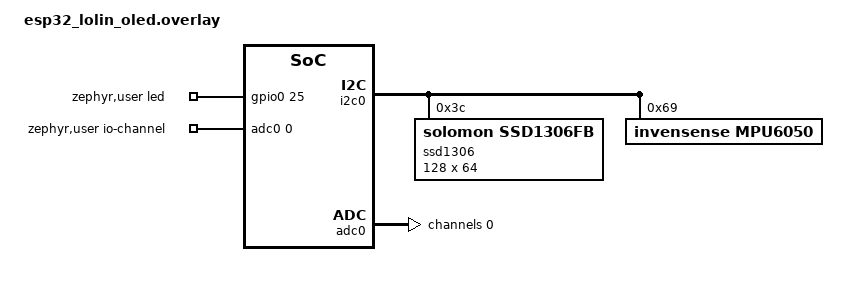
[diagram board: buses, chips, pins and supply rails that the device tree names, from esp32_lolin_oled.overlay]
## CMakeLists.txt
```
# SPDX-License-Identifier: Apache-2.0

cmake_minimum_required(VERSION 3.22)

set(BOARD_ROOT ${CMAKE_SOURCE_DIR})
set(BOARD "esp32_lolin_oled")
set(DTC_OVERLAY_FILE "esp32_lolin_oled.overlay")

find_package(Zephyr)
project(ze-clock)

nanopb_generate_cpp(proto_sources proto_headers RELPATH . src/simple.proto)
zephyr_library_include_directories(${CMAKE_CURRENT_BINARY_DIR})

FILE(GLOB app_sources src/*.c)
target_sources(app PRIVATE ${proto_sources} ${app_sources})
```

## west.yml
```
manifest:
  version: 0.8

  projects:
    - name: zephyr
      url: https://github.com/zephyrproject-rtos/zephyr
      revision: zephyr-v3.4.0
      import:
        file: west.yml
        path-prefix: deps
        name-allowlist:
          - nanopb
          - hal_espressif
  
  self:
    path: app
```

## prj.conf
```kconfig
CONFIG_I2C=y

CONFIG_DISPLAY=y
CONFIG_CHARACTER_FRAMEBUFFER=y
CONFIG_SSD1306=y
CONFIG_SSD1306_DEFAULT=y
CONFIG_SSD1306_DEFAULT_CONTRAST=128

CONFIG_ADC=y

CONFIG_SENSOR=y
CONFIG_MPU6050_TRIGGER_NONE=y
CONFIG_MPU6050_ACCEL_FS=4
CONFIG_MPU6050_GYRO_FS=500

CONFIG_PRINTK=y

CONFIG_NANOPB=y

CONFIG_LOG=y
```

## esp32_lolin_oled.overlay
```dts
/ {
    zephyr,user {
        // ch0-adcs = <&adc1>;
        led-gpios = <&gpio0 25 GPIO_ACTIVE_HIGH>;
        io-channels = <&adc0 0>;
    };

    // aliases{
        //     blinker = &led
    // };
};



&i2c0 {
    ssd1306: ssd1306@3c {
        compatible = "solomon,ssd1306fb";
        reg = <0x3C>;
        height = <64>;
        width = <128>;
        segment-offset = <0>;
        page-offset = <0>;
        display-offset = <0>;
        multiplex-ratio = <63>;
        prechargep = <0x22>;
        com-invdir;
        segment-remap;
    };

    mpu6050: mpu6050@69 {
        compatible = "invensense,mpu6050";
        reg = <0x69>;
        status = "okay";
    };
};

&adc0 {
    status = "okay";
    #address-cells = <1>;
    #size-cells = <0>;

    channel@0 {
        reg = <0>;
        zephyr,gain = "ADC_GAIN_1_4";
        zephyr,reference = "ADC_REF_INTERNAL";
        zephyr,acquisition-time = <ADC_ACQ_TIME_DEFAULT>;
        zephyr,resolution = <12>;
    };
};
```

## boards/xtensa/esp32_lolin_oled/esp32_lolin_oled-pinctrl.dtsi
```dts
/*
 * Copyright (c) 2022 Espressif Systems (Shanghai) Co., Ltd.
 *
 * SPDX-License-Identifier: Apache-2.0
 */

#include <zephyr/dt-bindings/pinctrl/esp-pinctrl-common.h>
#include <dt-bindings/pinctrl/esp32-pinctrl.h>
#include <zephyr/dt-bindings/pinctrl/esp32-gpio-sigmap.h>

&pinctrl {

	uart0_default: uart0_default {
		group1 {
			pinmux = <UART0_TX_GPIO1>;
			output-high;
		};
		group2 {
			pinmux = <UART0_RX_GPIO3>;
			bias-pull-up;
		};
	};

	spim2_default: spim2_default {
		group1 {
			pinmux = <SPIM2_MISO_GPIO7>,
				 <SPIM2_SCLK_GPIO6>,
				 <SPIM2_CSEL_GPIO11>;
		};
		group2 {
			pinmux = <SPIM2_MOSI_GPIO8>;
			output-low;
		};
	};

	i2c0_default: i2c0_default {
		group1 {
			pinmux = <I2C0_SDA_GPIO5>,
				 <I2C0_SCL_GPIO4>;
			bias-pull-up;
			drive-open-drain;
			output-high;
		};
	};
};
```

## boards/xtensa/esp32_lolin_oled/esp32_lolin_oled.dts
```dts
/*
 * Copyright (c) 2023 Espressif Systems (Shanghai) Co., Ltd.
 *
 * SPDX-License-Identifier: Apache-2.0
 */
/dts-v1/;
#include <espressif/esp32.dtsi>
#include "esp32_lolin_oled-pinctrl.dtsi"
#include <zephyr/dt-bindings/input/input-event-codes.h>

/ {
	model = "Wemos Lolin32 ESP32 OLED";
	compatible = "espressif,esp32";

	aliases {
		uart-0 = &uart0;
		i2c-0 = &i2c0;
		sw0 = &button0;
		watchdog0 = &wdt0;
	};

	buttons {
		compatible = "gpio-keys";
		button0: button_0 {
			gpios = <&gpio0 0 (GPIO_PULL_UP | GPIO_ACTIVE_LOW)>;
			label = "BOOT Button";
			zephyr,code = <INPUT_KEY_0>;
		};
	};

	chosen {
		zephyr,sram = &sram0;
		zephyr,console = &uart0;
		zephyr,shell-uart = &uart0;
		zephyr,flash = &flash0;
	};

	power-states {
		light_sleep: light_sleep {
			compatible = "zephyr,power-state";
			power-state-name = "standby";
			min-residency-us = <200>;
			exit-latency-us = <60>;
		};

	deep_sleep: deep_sleep {
			compatible = "zephyr,power-state";
			power-state-name = "soft-off";
			min-residency-us = <2000>;
			exit-latency-us = <212>;
		};
	};

};

&cpu0 {
	clock-frequency = <ESP32_CLK_CPU_240M>;
	cpu-power-states = <&light_sleep &deep_sleep>;
};

&cpu1 {
	clock-frequency = <ESP32_CLK_CPU_240M>;
};

&uart0 {
	status = "okay";
	current-speed = <115200>;
	pinctrl-0 = <&uart0_default>;
	pinctrl-names = "default";
};

&gpio0 {
	status = "okay";
};

&gpio1 {
	status = "okay";
};

&i2c0 {
	status = "okay";
	clock-frequency = <I2C_BITRATE_STANDARD>;
	sda-gpios = <&gpio0 5 GPIO_OPEN_DRAIN>;
	scl-gpios = <&gpio0 4 GPIO_OPEN_DRAIN>;
	pinctrl-0 = <&i2c0_default>;
	pinctrl-names = "default";
};

&spi2 {
	#address-cells = <1>;
	#size-cells = <0>;
	status = "okay";
	pinctrl-0 = <&spim2_default>;
	pinctrl-names = "default";
};

&timer0 {
	status = "disabled";
};

&timer1 {
	status = "disabled";
};

&timer2 {
	status = "disabled";
};

&timer3 {
	status = "disabled";
};

&trng0 {
	status = "okay";
};

&flash0 {
	status = "okay";
	partitions {
		compatible = "fixed-partitions";
		#address-cells = <1>;
		#size-cells = <1>;

		/* Reserve 60kB for the bootloader */
		boot_partition: partition@1000 {
			label = "mcuboot";
			reg = <0x00001000 0x0000F000>;
			read-only;
		};

		/* Reserve 1024kB for the application in slot 0 */
		slot0_partition: partition@10000 {
			label = "image-0";
			reg = <0x00010000 0x00100000>;
		};

		/* Reserve 1024kB for the application in slot 1 */
		slot1_partition: partition@110000 {
			label = "image-1";
			reg = <0x00110000 0x00100000>;
		};

		/* Reserve 256kB for the scratch partition */
		scratch_partition: partition@210000 {
			label = "image-scratch";
			reg = <0x00210000 0x00040000>;
		};

		storage_partition: partition@250000 {
			label = "storage";
			reg = <0x00250000 0x00006000>;
		};
	};
};
```

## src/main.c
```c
/*
 * Copyright (c) 2017 Linaro Limited
 *
 * SPDX-License-Identifier: Apache-2.0
 */

#include "logo_image.h"
#include "src/simple.pb.h"

#include <pb_decode.h>
#include <pb_encode.h>
#include <stdio.h>
#include <zephyr/device.h>
#include <zephyr/devicetree.h>
#include <zephyr/display/cfb.h>
#include <zephyr/drivers/adc.h>
#include <zephyr/drivers/display.h>
#include <zephyr/drivers/gpio.h>
#include <zephyr/drivers/sensor.h>
#include <zephyr/kernel.h>
#include <zephyr/kernel/thread.h>
#include <zephyr/logging/log.h>

#define THREAD_INIT_STACKSIZE	 2048
#define THREAD_IMU_STACKSIZE	 8192
#define THREAD_DISPLAY_STACKSIZE 16384
#define THREAD_LED_STACKSIZE	 2048
#define THREAD_ADC_STACKSIZE	 2048

#define THREAD_IMU_PRIORITY		8
#define THREAD_DISPLAY_PRIORITY 8
#define THREAD_ADC_PRIORITY		8
#define THREAD_LED_PRIORITY		8
#define THREAD_INIT_PRIORITY	0

#define IMU_FREQUENCY_HZ		  1
#define UPDATE_DISPLAY_HZ		  30
#define ADC_SAMPLING_FREQUENCY_HZ 100
#define LED_TOGGLE_FREQUENCY	  4

#if !DT_NODE_EXISTS( DT_PATH( zephyr_user ) ) || !DT_NODE_HAS_PROP( DT_PATH( zephyr_user ), io_channels )
	#error "No suitable devicetree overlay specified"
#endif

LOG_MODULE_REGISTER( app, LOG_LEVEL_DBG );
// ADC Definitions

// Device definitions
static const struct device		*oled = DEVICE_DT_GET( DT_NODELABEL( ssd1306 ) );
static const struct device		*mpu  = DEVICE_DT_GET( DT_NODELABEL( mpu6050 ) );
static const struct gpio_dt_spec led  = GPIO_DT_SPEC_GET( DT_PATH( zephyr_user ), led_gpios );
static const struct adc_dt_spec	 adc  = ADC_DT_SPEC_GET_BY_IDX( DT_N_S_zephyr_user_P_io_channels_IDX_0_VAL_input,
	  DT_N_S_soc_S_adc_3ff48800_S_channel_0_CHILD_IDX );

int32_t				adc_reading		   = 12;
uint16_t			adc_reading_buffer = 13;
struct adc_sequence sequence		   = {
			  .buffer	   = &adc_reading_buffer,
			  .buffer_size = sizeof( adc_reading_buffer ),
};

// IMU related variables
struct sensor_value temperature;
struct sensor_value accel[3];
struct sensor_value gyro[3];

// Display related variables
#define DISPLAY_BUFFER_PITCH 128
struct display_buffer_descriptor buf_desc;
uint16_t						 rows;
uint8_t							 ppt;
uint8_t							 font_width;
uint8_t							 font_height;

void init_screen_display() {
	if( display_set_contrast( oled, 0 ) != 0 ) {
		LOG_ERR( "could not set display brightness" );
	}
	if( display_write( oled, 0, 0, &buf_desc, start_up_screen ) != 0 ) {
		LOG_ERR( "could not write to display" );
	}
	for( size_t brightness = 0; brightness < 200; brightness++ ) {
		if( display_set_contrast( oled, brightness ) != 0 ) {
			LOG_ERR( "could not set display brightness" );
		}
		k_busy_wait( 7500 );
	}
	for( size_t brightness = 200; brightness > 0; brightness-- ) {
		if( display_set_contrast( oled, brightness ) != 0 ) {
			LOG_ERR( "could not set display brightness" );
		}
		k_busy_wait( 7500 );
	}

	if( display_write( oled, 0, 0, &buf_desc, black_screen ) != 0 ) {
		LOG_ERR( "could not write to display" );
	}
	if( display_set_contrast( oled, 200 ) != 0 ) {
		LOG_ERR( "could not set display brightness" );
	}
}

uint32_t get_wait_time_ms( float32_t frequency ) { return ( uint32_t ) ( 1000 / frequency ); }

void thread_init( void ) {
	int err;
	LOG_INF( "Initialisation thread running" );

	extern const k_tid_t thread_init_id;

	if( !device_is_ready( mpu ) ) {
		LOG_ERR( "IMU (MPU6050) not ready for use yet." );
	} else {
		LOG_INF( "IMU running." );
	}

	if( !device_is_ready( oled ) ) {
		LOG_ERR( "Display (SSD1306) not ready for use yet." );
	} else {
		LOG_INF( "Display (SSD1306) running." );
	}

	if( !device_is_ready( adc.dev ) ) {
		LOG_ERR( "ADC not ready for use" );
	} else {
		LOG_INF( "ADC is ready." );
	}

	if( !device_is_ready( led.port ) ) {
		LOG_ERR( "GPIO not ready for use yet." );
	} else {
		if( gpio_pin_configure_dt( &led, GPIO_OUTPUT_ACTIVE ) < 0 ) {
			LOG_ERR( "Error configuring GPIO" );
		}
		LOG_INF( "LED ready!." );
	}

	LOG_INF( "Initialising display..." );
	struct display_capabilities capabilities;
	display_get_capabilities( oled, &capabilities );

	const uint16_t x_res = capabilities.x_resolution;
	const uint16_t y_res = capabilities.y_resolution;

	buf_desc.width	  = x_res;
	buf_desc.height	  = y_res;
	buf_desc.buf_size = y_res * x_res;
	buf_desc.pitch	  = DISPLAY_BUFFER_PITCH;

	init_screen_display( oled );

	err = cfb_framebuffer_init( oled );
	if( err != 0 ) {
		LOG_ERR( "Framebuffer initialization failed! Error: %d", err );
		return;
	}
	LOG_INF( "Init went well" );

	err = display_set_pixel_format( oled, PIXEL_FORMAT_MONO10 );
	if( err != 0 ) {
		LOG_ERR( "Failed to set required pixel format" );
		return;
	}

	cfb_framebuffer_clear( oled, true );

	display_blanking_off( oled );

	int num_fonts = cfb_get_numof_fonts( oled );

	for( int idx = 0; idx < num_fonts; idx++ ) {
		cfb_get_font_size( oled, idx, &font_width, &font_height );

		LOG_INF( "Index[%d] font dimensions %2dx%d", idx, font_width, font_height );
	}
	cfb_framebuffer_set_font( oled, 0 );
	cfb_framebuffer_invert( oled ); // white on black

	cfb_print( oled, "Hello my man!", 0, 0 );
	cfb_framebuffer_finalize( oled );

	LOG_INF( "Display has been set up." );

	LOG_INF( "Initialising ADC..." );
	LOG_INF( "ADC node found?: %d", adc.channel_cfg_dt_node_exists );
	LOG_INF( "ADC devicetree details:" );
	LOG_INF( "ADC Resolution: %dbits", adc.resolution );
	LOG_INF( "ADC Channel: %d", adc.channel_id );
	LOG_INF( "ADC reference voltage: %d", adc.vref_mv );

	LOG_INF( "ADC %d", adc.resolution );

	adc_channel_setup_dt( &adc );

	err = adc_sequence_init_dt( &adc, &sequence );
	if( err != 0 ) {
		LOG_ERR( "Failed to init sequence: %d", err );
	}

	LOG_INF( "ADC sampling values" );
	LOG_INF( "ADC resolution: %d", sequence.resolution );
	LOG_INF( "ADC channels: %d", sequence.channels );
	LOG_INF( "ADC oversampling: %d", sequence.oversampling );

	err = adc_read( adc.dev, &sequence );
	if( err != 0 ) {
		LOG_ERR( "Failed to read ADC value: %d", err );
	}

	LOG_INF( "ADC has been set up." );

	LOG_INF( "Initialising IMU..." );

	// Not a robust initialisation but it checks that everything works well.
	// err = sensor_sample_fetch( mpu );
	if( err < 0 ) {
		LOG_ERR( "Failed to fetch sensor value: %d", err );
	} else {
		LOG_INF( "IMU has been set up." );
	}

	k_thread_abort( thread_init_id );
}

void thread_led( void ) {
	for( ;; ) {
		LOG_INF( "Toggling LED" );
		gpio_pin_toggle_dt( &led );
		k_msleep( get_wait_time_ms( LED_TOGGLE_FREQUENCY ) );
	}
}

void thread_imu( void ) {
	int err = 0;
	for( ;; ) {
		LOG_INF( "Getting sensor data from MPU6050" );
		err = sensor_sample_fetch( mpu );
		if( err < 0 ) {
			LOG_ERR( "Failed to fetch sensor values: %d", err );
		} else {
			err = sensor_channel_get( mpu, SENSOR_CHAN_AMBIENT_TEMP, &temperature );
			if( err < 0 ) {
				LOG_ERR( "Failed to get temperature data: %d", err );
			}
			err = sensor_channel_get( mpu, SENSOR_CHAN_ACCEL_XYZ, accel );
			if( err < 0 ) {
				LOG_ERR( "Failed to get acceleration data: %d", err );
			}
			err = sensor_channel_get( mpu, SENSOR_CHAN_GYRO_XYZ, gyro );
			if( err < 0 ) {
				LOG_ERR( "Failed to get temperature data: %d", err );
			}

			LOG_INF( "Temperature: %d.%d", temperature.val1, temperature.val2 );
			LOG_INF( "Acceleration: X - %d.%d\tY - %d.%d\tZ - %d.%d", accel[0].val1, accel[0].val2, accel[1].val1,
				accel[1].val2, accel[2].val1, accel[2].val2 );
			LOG_INF( "Angular Rate: X - %d.%d\tY - %d.%d\tZ - %d.%d", gyro[0].val1, gyro[0].val2, gyro[1].val1,
				gyro[1].val2, gyro[2].val1, gyro[2].val2 );
		}
		LOG_INF( "Done fetching IMU data" );
		k_msleep( get_wait_time_ms( IMU_FREQUENCY_HZ ) );
	}
}

void thread_display( void ) {
	int cnt = 0;

	char temp_str[12];
	char acc_str[12];
	char gyro_str[12];
	char pot_str[12];

	for( ;; ) {
		cfb_framebuffer_clear( oled, false );

		sprintf( temp_str, "Temp: %d.%d", temperature.val1, ( uint8_t ) ( temperature.val2 / 10000 ) );
		cfb_print( oled, temp_str, 0, 0 );

		sprintf( acc_str, "A: %2d %2d %2d", accel[0].val1, accel[1].val1, accel[2].val1 );
		cfb_print( oled, acc_str, 0, 16 );

		sprintf( gyro_str, "G: %2d %2d %2d", gyro[0].val1, gyro[1].val1, gyro[2].val1 );
		cfb_print( oled, gyro_str, 0, 32 );

		sprintf( pot_str, "ADC: %d.%dv", ( uint8_t ) ( adc_reading / 1000.0 ), ( uint8_t ) ( adc_reading % 1000 ) );
		cfb_print( oled, pot_str, 0, 48 );

		cfb_framebuffer_finalize( oled );
		k_msleep( get_wait_time_ms( UPDATE_DISPLAY_HZ ) );
	}
}

void thread_adc( void ) {
	int err;
	for( ;; ) {
		err = adc_read( adc.dev, &sequence );
		if( err != 0 ) {
			LOG_ERR( "Failed to read ADC value: %d", err );
		}
		adc_reading = ( int32_t ) adc_reading_buffer;
		err			= adc_raw_to_millivolts_dt( &adc, &adc_reading );
		if( err != 0 ) {
			LOG_ERR( "Failed to read ADC value: %d", err );
		}
		LOG_INF( "Buffer reading: %d", adc_reading_buffer );
		LOG_INF( "ADC reading: %d", adc_reading );
		k_msleep( get_wait_time_ms( ADC_SAMPLING_FREQUENCY_HZ ) );
	}
}

// Define and initialize threads
K_THREAD_DEFINE( thread_init_id, THREAD_INIT_STACKSIZE, thread_init, NULL, NULL, NULL, THREAD_INIT_PRIORITY, 0, 0 );
K_THREAD_DEFINE( thread_imu_id, THREAD_IMU_STACKSIZE, thread_imu, NULL, NULL, NULL, THREAD_IMU_PRIORITY, 0, 5000 );
K_THREAD_DEFINE( thread_led_id, THREAD_LED_STACKSIZE, thread_led, NULL, NULL, NULL, THREAD_LED_PRIORITY, 0, 5000 );
K_THREAD_DEFINE( thread_adc_id, THREAD_ADC_STACKSIZE, thread_adc, NULL, NULL, NULL, THREAD_ADC_PRIORITY, 0, 5000 );
K_THREAD_DEFINE( thread_display_id, THREAD_DISPLAY_STACKSIZE, thread_display, NULL, NULL, NULL, THREAD_DISPLAY_PRIORITY,
	0, 5000 );
```

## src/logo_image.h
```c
#include <stdint.h>
uint8_t start_up_screen[1024] = { 0x00, 0x00, 0x00, 0x00, 0x00, 0x00, 0x00, 0x00, 0x00, 0x00, 0x00, 0x00, 0x00, 0x00,
	0x00, 0x00, 0x00, 0x00, 0x00, 0x00, 0x00, 0x00, 0x00, 0x00, 0x00, 0x00, 0x00, 0x00, 0x00, 0x00, 0x00, 0x00, 0x00,
	0x00, 0x00, 0x00, 0x00, 0x00, 0x00, 0x00, 0x00, 0x00, 0x00, 0x00, 0x00, 0x00, 0x00, 0x00, 0x00, 0x00, 0x00, 0x00,
	0x00, 0x00, 0x00, 0x00, 0x00, 0x00, 0x00, 0x00, 0x00, 0x00, 0x00, 0x00, 0x00, 0x00, 0x00, 0x00, 0x00, 0x00, 0x00,
	0x00, 0x00, 0x00, 0x00, 0x00, 0x00, 0x00, 0x00, 0x00, 0x00, 0x00, 0x00, 0x00, 0x00, 0x00, 0x00, 0x00, 0x00, 0x00,
	0x00, 0x00, 0x00, 0x00, 0x00, 0x00, 0x00, 0x00, 0x00, 0x00, 0x00, 0x00, 0x00, 0x00, 0x00, 0x00, 0x00, 0x00, 0x00,
	0x00, 0x00, 0x00, 0x00, 0x00, 0x00, 0x00, 0x00, 0x00, 0x00, 0x00, 0x00, 0x00, 0x00, 0x00, 0x00, 0x00, 0x00, 0x00,
	0x00, 0x00, 0x00, 0x00, 0x00, 0x00, 0x00, 0x00, 0x00, 0x00, 0x00, 0x00, 0x00, 0x00, 0x00, 0x00, 0x00, 0x00, 0x00,
	0x00, 0x00, 0x00, 0x00, 0x00, 0x00, 0x00, 0x00, 0x00, 0x00, 0x00, 0x00, 0x00, 0x00, 0x00, 0x00, 0x00, 0x00, 0x00,
	0x00, 0x00, 0x00, 0x00, 0x00, 0x00, 0x00, 0x00, 0x00, 0x00, 0x00, 0x00, 0x00, 0x00, 0x00, 0x00, 0x00, 0x00, 0x00,
	0x00, 0x00, 0x00, 0x00, 0x00, 0x00, 0x00, 0x00, 0x00, 0x00, 0x00, 0x00, 0x00, 0x00, 0x00, 0x00, 0x00, 0x00, 0x00,
	0x00, 0x00, 0x00, 0x00, 0x00, 0x00, 0x00, 0x00, 0x00, 0x00, 0x80, 0x80, 0x80, 0x00, 0x00, 0x00, 0x00, 0x00, 0x00,
	0x00, 0x00, 0x00, 0x00, 0x00, 0x00, 0x00, 0x00, 0x00, 0x00, 0x00, 0x00, 0x00, 0x00, 0x00, 0x00, 0x00, 0x00, 0x00,
	0x00, 0x00, 0x00, 0x00, 0x00, 0x00, 0x00, 0x00, 0x00, 0x00, 0x00, 0x00, 0x00, 0x00, 0x00, 0x00, 0x00, 0x00, 0x00,
	0x00, 0x00, 0x00, 0x00, 0x00, 0x00, 0x00, 0x80, 0x80, 0x80, 0x80, 0x80, 0x80, 0x80, 0x00, 0x00, 0x00, 0x00, 0x00,
	0x00, 0x00, 0x00, 0xfe, 0xfe, 0xfe, 0xfe, 0xfe, 0x00, 0x00, 0x00, 0x00, 0x00, 0x00, 0x00, 0x00, 0x80, 0x80, 0x80,
	0x80, 0x80, 0x80, 0x00, 0x00, 0x00, 0x00, 0x00, 0x00, 0x00, 0x80, 0x80, 0x80, 0x80, 0x80, 0x00, 0x00, 0x00, 0x80,
	0x80, 0x80, 0x80, 0x80, 0x80, 0x00, 0x00, 0x00, 0x00, 0x80, 0x80, 0xf8, 0xf8, 0xf8, 0xf8, 0xf8, 0xf8, 0x80, 0x80,
	0x80, 0x80, 0x00, 0x04, 0x9f, 0xbf, 0xbf, 0xbf, 0x9f, 0x1e, 0x00, 0x00, 0x80, 0xf0, 0xfc, 0xfe, 0xfe, 0xfe, 0xff,
	0x9f, 0x9f, 0x9e, 0x1e, 0x00, 0x80, 0x80, 0x80, 0x80, 0x80, 0x00, 0x00, 0x00, 0x00, 0x00, 0x00, 0x00, 0x80, 0x80,
	0x80, 0x80, 0x80, 0x00, 0x00, 0x00, 0x00, 0x00, 0x00, 0x00, 0x00, 0x00, 0x00, 0x00, 0x00, 0xc0, 0xf8, 0xfc, 0xfe,
	0xff, 0xff, 0x1f, 0x0f, 0x0f, 0x0f, 0x0f, 0x0f, 0x1f, 0x3f, 0xff, 0xff, 0xfe, 0xfc, 0xf0, 0x80, 0x00, 0xff, 0xff,
	0xff, 0xff, 0xff, 0x00, 0x00, 0xf0, 0xf8, 0xfe, 0xfe, 0xff, 0x9f, 0x8f, 0x8f, 0x87, 0x87, 0x8f, 0x9f, 0xff, 0xff,
	0xfe, 0xfc, 0xf0, 0x00, 0x00, 0xff, 0x3f, 0xcf, 0xf7, 0xf9, 0xfe, 0xff, 0x7f, 0x1f, 0x1f, 0x0f, 0x1f, 0xff, 0xff,
	0xff, 0xfe, 0xf8, 0x00, 0x0f, 0x0f, 0xff, 0xff, 0xff, 0xff, 0xff, 0xff, 0x0f, 0x0f, 0x0f, 0x0f, 0x00, 0x00, 0xff,
	0xff, 0xff, 0xff, 0xff, 0xff, 0x00, 0x0f, 0x0f, 0xff, 0xff, 0xff, 0xff, 0xff, 0xff, 0x0f, 0x0f, 0x0f, 0x0f, 0x00,
	0xff, 0xff, 0xff, 0xff, 0xff, 0x00, 0x00, 0x00, 0x00, 0x00, 0x00, 0x00, 0xff, 0xff, 0xff, 0xff, 0xff, 0x00, 0x00,
	0x00, 0x00, 0x00, 0x00, 0x00, 0x00, 0x00, 0x00, 0x00, 0x00, 0xff, 0xff, 0xff, 0xff, 0xff, 0xff, 0xf0, 0xe0, 0xe0,
	0xe0, 0xe0, 0xe0, 0xe0, 0xf8, 0xff, 0xff, 0xff, 0x7f, 0x3f, 0x07, 0x00, 0xff, 0xff, 0xff, 0xff, 0xff, 0x00, 0x00,
	0x1f, 0x3f, 0x7f, 0xff, 0xff, 0xf3, 0xe3, 0xe3, 0xc3, 0xc3, 0xc3, 0xc3, 0xc3, 0xe3, 0xe3, 0xe3, 0xf3, 0xf0, 0xf8,
	0xfe, 0x7f, 0xbf, 0xdf, 0xef, 0xe3, 0x01, 0x00, 0x00, 0x00, 0x00, 0x00, 0xff, 0xff, 0xff, 0xff, 0xff, 0x00, 0x00,
	0x00, 0x7f, 0xff, 0xff, 0xff, 0xff, 0xff, 0xe0, 0xe0, 0xe0, 0xe0, 0x00, 0x00, 0xff, 0xff, 0xff, 0xff, 0xff, 0xff,
	0x00, 0x00, 0x00, 0xff, 0xff, 0xff, 0xff, 0xff, 0xff, 0x00, 0x00, 0x00, 0x00, 0x00, 0x3f, 0xff, 0xff, 0xff, 0xff,
	0xfc, 0xe0, 0xe0, 0xe0, 0xe0, 0xe0, 0xf8, 0xff, 0xff, 0xff, 0xff, 0xff, 0x00, 0x00, 0x00, 0x00, 0x00, 0x00, 0x00,
	0x00, 0x00, 0x00, 0x00, 0x00, 0xff, 0xff, 0xff, 0xff, 0xff, 0xff, 0x01, 0x03, 0x03, 0x03, 0x03, 0x03, 0x03, 0x03,
	0x01, 0x01, 0x00, 0x00, 0x00, 0x00, 0x00, 0x03, 0x03, 0x03, 0x03, 0x03, 0x00, 0x00, 0x00, 0x00, 0x00, 0x00, 0x01,
	0x01, 0x03, 0x03, 0x03, 0x03, 0x03, 0x03, 0x03, 0x03, 0x03, 0x03, 0x01, 0x01, 0x00, 0x02, 0x03, 0x03, 0x03, 0x03,
	0x01, 0x00, 0x00, 0x00, 0x00, 0x00, 0x00, 0x03, 0x03, 0x03, 0x03, 0x03, 0x00, 0x00, 0x00, 0x00, 0x01, 0x01, 0x03,
	0x03, 0x03, 0x03, 0x03, 0x03, 0x01, 0x00, 0x00, 0x03, 0x03, 0x03, 0x03, 0x03, 0x01, 0x00, 0x00, 0x00, 0x03, 0x03,
	0x03, 0x03, 0x03, 0x01, 0x00, 0x00, 0x00, 0x00, 0x00, 0x00, 0x40, 0xf9, 0xfb, 0xfb, 0xf3, 0xf3, 0xf3, 0xf3, 0xf9,
	0xf9, 0xfe, 0x7f, 0x7f, 0x3f, 0x1f, 0x07, 0x00, 0x00, 0x00, 0x00, 0x00, 0x00, 0x00, 0x00, 0x00, 0x00, 0x00, 0x00,
	0x00, 0x00, 0x00, 0x00, 0x00, 0x00, 0x00, 0x00, 0x00, 0x00, 0x00, 0x00, 0x00, 0x00, 0x00, 0x00, 0x00, 0x00, 0x00,
	0x00, 0x00, 0x00, 0x00, 0x00, 0x00, 0x00, 0x00, 0x00, 0x00, 0x00, 0x00, 0x00, 0x00, 0x00, 0x00, 0x00, 0x00, 0x00,
	0x00, 0x00, 0x00, 0x00, 0x00, 0x00, 0x00, 0x00, 0x00, 0x00, 0x00, 0x00, 0x00, 0x00, 0x00, 0x00, 0x00, 0x00, 0x00,
	0x00, 0x00, 0x00, 0x00, 0x00, 0x00, 0x00, 0x00, 0x00, 0x00, 0x00, 0x00, 0x00, 0x00, 0x00, 0x00, 0x00, 0x00, 0x00,
	0x00, 0x00, 0x00, 0x00, 0x00, 0x00, 0x00, 0x00, 0x00, 0x00, 0x00, 0x00, 0x00, 0x00, 0x00, 0x00, 0x00, 0x00, 0x00,
	0x00, 0x00, 0x00, 0x00, 0x00, 0x00, 0x00, 0x00, 0x00, 0x00, 0x00, 0x00, 0x00, 0x00, 0x00, 0x00, 0x00, 0x00, 0x00,
	0x00, 0x00, 0x00, 0x00, 0x00, 0x00, 0x00, 0x00, 0x00, 0x00, 0x00, 0x00, 0x00, 0x00, 0x00, 0x00, 0x00, 0x00, 0x00,
	0x00, 0x00, 0x00, 0x00, 0x00, 0x00, 0x00, 0x00, 0x00, 0x00, 0x00, 0x00, 0x00, 0x00, 0x00, 0x00, 0x00, 0x00, 0x00,
	0x00, 0x00, 0x00, 0x00, 0x00, 0x00, 0x00, 0x00, 0x00, 0x00, 0x00, 0x00, 0x00, 0x00, 0x00, 0x00, 0x00, 0x00, 0x00,
	0x00, 0x00, 0x00, 0x00, 0x00, 0x00, 0x00, 0x00, 0x00, 0x00, 0x00, 0x00, 0x00, 0x00, 0x00, 0x00, 0x00, 0x00, 0x00,
	0x00, 0x00, 0x00, 0x00, 0x00, 0x00, 0x00, 0x00, 0x00, 0x00, 0x00, 0x00, 0x00, 0x00, 0x00, 0x00, 0x00, 0x00, 0x00,
	0x00, 0x00, 0x00, 0x00, 0x00, 0x00, 0x00, 0x00, 0x00, 0x00, 0x00, 0x00, 0x00, 0x00, 0x00, 0x00, 0x00, 0x00, 0x00,
	0x00, 0x00, 0x00, 0x00, 0x00, 0x00, 0x00, 0x00, 0x00, 0x00, 0x00, 0x00, 0x00, 0x00, 0x00, 0x00, 0x00, 0x00, 0x00,
	0x00, 0x00, 0x00 };

uint8_t black_screen[1024] = { 0 };
uint8_t white_screen[1024] = { 0xff };

uint8_t other_screen[1024] = { 0xff, 0xff, 0xff, 0xff, 0xff, 0xff, 0xff, 0xff, 0xff, 0xff, 0xff, 0xff, 0xff, 0xff, 0xff,
	0xff, 0xff, 0xff, 0xff, 0xff, 0xff, 0xff, 0xff, 0xff, 0xff, 0xff, 0xff, 0xff, 0xff, 0xff, 0xff, 0xff, 0xff, 0xff,
	0xff, 0xff, 0xff, 0xff, 0xff, 0xff, 0xff, 0xff, 0xff, 0xff, 0xff, 0xff, 0xff, 0xff, 0xff, 0xff, 0xff, 0xff, 0xff,
	0xff, 0xff, 0xff, 0xff, 0xff, 0xff, 0xff, 0xff, 0xff, 0xff, 0xff, 0xff, 0xff, 0xff, 0xff, 0xff, 0xff, 0xff, 0xff,
	0xff, 0xff, 0xff, 0xff, 0xff, 0xff, 0xff, 0xff, 0xff, 0xff, 0xff, 0xff, 0xff, 0xff, 0xff, 0xff, 0xff, 0xff, 0xff,
	0xff, 0xff, 0xff, 0x7f, 0x3f, 0x1f, 0x1f, 0x1f, 0x3f, 0xff, 0xff, 0xff, 0xff, 0xff, 0xff, 0xff, 0xff, 0xff, 0xff,
	0xff, 0xff, 0xff, 0xff, 0xff, 0xff, 0xff, 0xff, 0xff, 0xff, 0xff, 0xff, 0xff, 0xff, 0xff, 0xff, 0xff, 0xff, 0xff,
	0xff, 0xff, 0xff, 0xff, 0xff, 0xff, 0xff, 0xff, 0xff, 0xff, 0xff, 0xff, 0xff, 0xff, 0xff, 0xff, 0xff, 0xff, 0xff,
	0xff, 0xff, 0xff, 0xff, 0xff, 0xff, 0xff, 0xff, 0xff, 0xff, 0xff, 0xff, 0xff, 0xff, 0xff, 0xff, 0xff, 0xff, 0xff,
	0xff, 0xff, 0xff, 0xff, 0xff, 0xff, 0xff, 0xff, 0xff, 0xff, 0xff, 0xff, 0xff, 0xff, 0xff, 0xff, 0xff, 0xff, 0xff,
	0xff, 0xff, 0xff, 0xff, 0xff, 0xff, 0xff, 0xff, 0xff, 0xff, 0xff, 0xff, 0xff, 0xff, 0xff, 0xff, 0xff, 0xff, 0xff,
	0xff, 0xff, 0xff, 0xff, 0xff, 0xff, 0xff, 0xff, 0xff, 0xff, 0xff, 0xff, 0xff, 0x1f, 0x07, 0xc1, 0xe0, 0xf0, 0xf8,
	0xfc, 0xf8, 0xf0, 0xc0, 0x00, 0x07, 0x7f, 0x3f, 0x1f, 0x8f, 0x8f, 0x87, 0xc7, 0xc3, 0xc3, 0xc3, 0xc1, 0xc1, 0xc1,
	0xc1, 0x01, 0x01, 0x01, 0x01, 0x01, 0xff, 0xff, 0xff, 0xff, 0xff, 0xff, 0xff, 0xff, 0xff, 0xff, 0xff, 0xff, 0xff,
	0xff, 0xff, 0xff, 0xff, 0xff, 0xff, 0xff, 0xff, 0xff, 0xff, 0xff, 0xff, 0xff, 0xff, 0xff, 0xff, 0x7f, 0x7f, 0xff,
	0xff, 0xff, 0xff, 0x7f, 0x3f, 0x1f, 0x1f, 0x8f, 0xff, 0xff, 0xff, 0xff, 0x7f, 0x3f, 0x3f, 0x3f, 0x1f, 0x1f, 0x1f,
	0x1f, 0x9f, 0xdf, 0xff, 0xff, 0xff, 0xff, 0xff, 0xff, 0xff, 0xff, 0xff, 0xff, 0xff, 0xff, 0xff, 0xff, 0xff, 0x7f,
	0x7f, 0x3f, 0x3f, 0x3f, 0x3f, 0x1f, 0x1f, 0x3f, 0x3f, 0x3f, 0x3f, 0x7f, 0x7f, 0xff, 0xff, 0xff, 0xff, 0xfb, 0xe7,
	0x87, 0x0f, 0x1f, 0x1f, 0x7f, 0xff, 0xff, 0xe1, 0x7c, 0x1f, 0x0f, 0x07, 0x03, 0x81, 0xc3, 0x6f, 0x7f, 0x7f, 0x3c,
	0x3c, 0x3e, 0x3f, 0x3f, 0x3f, 0x3f, 0x3f, 0xff, 0xff, 0xff, 0xff, 0xff, 0xff, 0xff, 0x0f, 0x00, 0x00, 0x80, 0xe0,
	0xfc, 0xff, 0xff, 0xff, 0xff, 0xff, 0xff, 0xff, 0xff, 0xff, 0xff, 0xff, 0xff, 0xff, 0xff, 0xff, 0xff, 0xff, 0xff,
	0xff, 0xff, 0xff, 0xff, 0xff, 0xff, 0xff, 0xff, 0xc7, 0xc1, 0x60, 0x70, 0x7c, 0x7f, 0xff, 0xbf, 0xb9, 0xb2, 0xb8,
	0x7c, 0x7e, 0x7f, 0x7f, 0x7b, 0xf5, 0xf4, 0xf2, 0xf0, 0xf8, 0xf8, 0xfc, 0xfc, 0xfe, 0xff, 0xff, 0xff, 0xff, 0xff,
	0xff, 0xff, 0xff, 0xff, 0xff, 0xff, 0xff, 0xff, 0xff, 0xff, 0x07, 0x01, 0xf0, 0xfc, 0xfe, 0xfe, 0x0f, 0x07, 0x03,
	0x03, 0x03, 0x03, 0x07, 0x1f, 0xfe, 0xfe, 0xfc, 0xf8, 0xe1, 0xc3, 0x07, 0x3f, 0xff, 0xff, 0xfc, 0x00, 0x00, 0x00,
	0x00, 0x0f, 0xff, 0x80, 0xe0, 0x3c, 0x0e, 0x03, 0x01, 0x00, 0x00, 0x00, 0x00, 0x00, 0x00, 0x00, 0x00, 0x00, 0x00,
	0xc0, 0xf0, 0xff, 0xff, 0xff, 0xcf, 0xc7, 0xc3, 0x88, 0x88, 0x1c, 0x1f, 0x3f, 0x3f, 0x7f, 0x7f, 0xff, 0xff, 0xff,
	0xff, 0xff, 0xff, 0xff, 0xff, 0xff, 0xff, 0xff, 0xff, 0xff, 0xff, 0xff, 0xff, 0xff, 0xff, 0xff, 0xff, 0xff, 0xff,
	0xfb, 0x7d, 0x7d, 0x3e, 0x3e, 0x3f, 0x1f, 0x1f, 0x9f, 0x9f, 0x9f, 0x9f, 0x9f, 0x9f, 0x9f, 0x1f, 0x3f, 0x3f, 0x3f,
	0x7e, 0x7e, 0xfc, 0xfd, 0xf9, 0xfb, 0xf3, 0xe7, 0xef, 0xcf, 0x9f, 0x3f, 0x7f, 0xff, 0xff, 0xff, 0xff, 0xff, 0xff,
	0xff, 0xff, 0xff, 0xff, 0xff, 0xfc, 0xf0, 0xe3, 0xc7, 0xcf, 0x9f, 0x9f, 0x9e, 0x9e, 0x9e, 0xce, 0xc2, 0xe0, 0xf8,
	0xef, 0xd7, 0xf3, 0xf7, 0xe7, 0x8f, 0xfc, 0x00, 0xc3, 0xff, 0xff, 0xe0, 0xfe, 0xe0, 0xf8, 0x9f, 0xc7, 0xcf, 0xdf,
	0xf8, 0xf8, 0xf0, 0xd0, 0xd0, 0x90, 0x90, 0x90, 0x98, 0x88, 0x8c, 0x8c, 0x86, 0x83, 0xc1, 0xc1, 0xe1, 0xf3, 0x7f,
	0x7f, 0x7f, 0x3f, 0x3f, 0x1f, 0x8f, 0x86, 0xc0, 0xc0, 0xe0, 0xf0, 0xf8, 0xfd, 0xff, 0xff, 0xff, 0xff, 0xff, 0xff,
	0xff, 0xff, 0xff, 0xff, 0xff, 0xff, 0xff, 0xff, 0x3f, 0x9f, 0xc7, 0xe3, 0x71, 0x79, 0x3c, 0x3c, 0x1e, 0x9e, 0xdf,
	0xff, 0xff, 0xff, 0xff, 0xff, 0xff, 0xff, 0xff, 0xff, 0xff, 0xff, 0xff, 0xff, 0xfe, 0xfe, 0xfc, 0xfc, 0xf8, 0xf9,
	0xf3, 0xe7, 0xcf, 0x1f, 0x7f, 0xff, 0xff, 0xfe, 0x3c, 0x19, 0xf3, 0xe7, 0xcf, 0x9f, 0x3f, 0x7f, 0xff, 0xff, 0xff,
	0xff, 0xff, 0xff, 0xff, 0xff, 0xff, 0xff, 0xff, 0xff, 0xff, 0xff, 0xff, 0xff, 0xff, 0xff, 0xff, 0x7f, 0x3f, 0x1f,
	0x87, 0xe0, 0xf8, 0xff, 0xdf, 0xdf, 0x9f, 0x1f, 0x3f, 0x7b, 0xfa, 0xfa, 0xf2, 0xf2, 0xe2, 0xe0, 0xc4, 0xc0, 0x80,
	0x80, 0x81, 0x81, 0x83, 0x83, 0x87, 0x87, 0x8f, 0x8f, 0x9e, 0xbe, 0xfe, 0xfe, 0xfe, 0xfe, 0xfe, 0xff, 0xff, 0xff,
	0xff, 0xff, 0xff, 0xff, 0xff, 0xff, 0xff, 0xff, 0xff, 0xff, 0xff, 0xff, 0xff, 0xff, 0xff, 0xff, 0xff, 0xff, 0xff,
	0xff, 0x03, 0x0c, 0x87, 0xc1, 0xc0, 0xe0, 0xf0, 0xf8, 0xf8, 0xfe, 0xff, 0xff, 0xff, 0xff, 0xff, 0xff, 0xff, 0xff,
	0xff, 0xff, 0xff, 0xff, 0xff, 0xff, 0xff, 0xff, 0xff, 0xff, 0xff, 0xff, 0xff, 0xff, 0xff, 0xff, 0xff, 0xff, 0xfe,
	0xf9, 0xcf, 0xff, 0xfc, 0xf0, 0xfc, 0xff, 0xf3, 0xc7, 0x83, 0x06, 0x0c, 0x7c, 0xf9, 0xbb, 0x53, 0x93, 0x37, 0x27,
	0x67, 0xe7, 0xe7, 0xe7, 0xe7, 0xe7, 0xf3, 0xf3, 0xf1, 0xf9, 0xf8, 0xfc, 0xfe, 0xff, 0xff, 0xff, 0xff, 0xcf, 0xc7,
	0xc7, 0xc7, 0xc3, 0xe0, 0xf0, 0xfd, 0xff, 0xff, 0xff, 0xff, 0xff, 0xff, 0xff, 0xff, 0xff, 0xff, 0xff, 0xff, 0xff,
	0xff, 0xff, 0xff, 0xff, 0xff, 0xff, 0xff, 0xff, 0xff, 0xff, 0xff, 0xff, 0xff, 0xff, 0xff, 0xff, 0xff, 0xff, 0xff,
	0xff, 0xff, 0xff, 0xff, 0xff, 0xff, 0xff, 0xff, 0xff, 0xff, 0xff, 0xff, 0xff, 0xff, 0xff, 0xff, 0xff, 0xff, 0xff,
	0xff, 0xff, 0xff, 0xff, 0xff, 0xff, 0xff, 0xff, 0xff, 0xff, 0xff, 0xff, 0xff, 0xff, 0xff, 0xff, 0xff, 0xff, 0xff,
	0xff, 0xff, 0xff, 0xff, 0xff, 0xff, 0xff, 0xff, 0xff, 0xff, 0xff, 0xff, 0xff, 0xff, 0xff, 0xff, 0xff, 0xff, 0xff,
	0xff, 0xff, 0xff, 0xff, 0xff, 0xff, 0xfe, 0xfc, 0xff, 0xff, 0xfe, 0xfc, 0xf8, 0xf8, 0xf0, 0xf0, 0xf3, 0xff, 0xff,
	0xff, 0xff, 0xff, 0xff, 0xff, 0xff, 0xff, 0xff, 0xff, 0xff, 0xff, 0xff, 0xff, 0xff, 0xff, 0xff, 0xff, 0xff, 0xff,
	0xff, 0xff, 0xff, 0xff, 0xff, 0xff, 0xff, 0xff, 0xff, 0xff, 0xff, 0xff, 0xff, 0xff, 0xff, 0xff, 0xff, 0xff, 0xff,
	0xff, 0xff, 0xff, 0xff, 0xff, 0xff, 0xff, 0xff, 0xff, 0xff, 0xff, 0xff, 0xff, 0xff, 0xff, 0xff, 0xff, 0xff, 0xff,
	0xff, 0xff };
```
